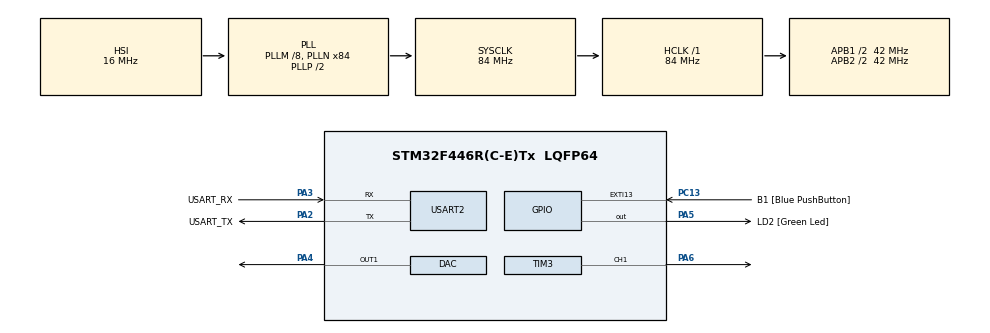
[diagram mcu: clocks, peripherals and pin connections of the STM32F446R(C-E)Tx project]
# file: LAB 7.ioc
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DAC.DAC_Trigger=DAC_TRIGGER_NONE
Dma.DAC1.0.Direction=DMA_MEMORY_TO_PERIPH
Dma.DAC1.0.FIFOMode=DMA_FIFOMODE_DISABLE
Dma.DAC1.0.Instance=DMA1_Stream5
Dma.DAC1.0.MemDataAlignment=DMA_MDATAALIGN_HALFWORD
Dma.DAC1.0.MemInc=DMA_MINC_ENABLE
Dma.DAC1.0.Mode=DMA_NORMAL
Dma.DAC1.0.PeriphDataAlignment=DMA_PDATAALIGN_HALFWORD
Dma.DAC1.0.PeriphInc=DMA_PINC_DISABLE
Dma.DAC1.0.Priority=DMA_PRIORITY_LOW
Dma.Request0=DAC1
Mcu.Family=STM32F4
Mcu.Name=STM32F446R(C-E)Tx
Mcu.Package=LQFP64
NVIC.DMA1_Stream5_IRQn=true\:0\:0\:false\:false\:true\:false\:true\:true
NVIC.PriorityGroup=NVIC_PRIORITYGROUP_0
NVIC.USART2_IRQn=true\:0\:0\:false\:false\:true\:true\:true\:true
PA13.GPIO_Label=TMS
PA13.Signal=SYS_JTMS-SWDIO
PA14.GPIO_Label=TCK
PA14.Signal=SYS_JTCK-SWCLK
PA2.GPIO_Label=USART_TX
PA2.Mode=Asynchronous
PA2.Signal=USART2_TX
PA3.GPIO_Label=USART_RX
PA3.Mode=Asynchronous
PA3.Signal=USART2_RX
PA4.Signal=COMP_DAC1_group
PA5.GPIO_Label=LD2 [Green Led]
PA5.Signal=GPIO_Output
PA6.Signal=S_TIM3_CH1
PB3.GPIO_Label=SWO
PB3.Signal=SYS_JTDO-SWO
PC13.GPIO_Label=B1 [Blue PushButton]
PC13.GPIO_ModeDefaultEXTI=GPIO_MODE_IT_FALLING
PC13.Signal=GPXTI13
PC14-OSC32_IN.Signal=RCC_OSC32_IN
PC15-OSC32_OUT.Signal=RCC_OSC32_OUT
PH0-OSC_IN.Mode=HSE-External-Clock-Source
PH0-OSC_IN.Signal=RCC_OSC_IN
PH1-OSC_OUT.Mode=HSE-External-Clock-Source
PH1-OSC_OUT.Signal=RCC_OSC_OUT
ProjectManager.HeapSize=0x200
ProjectManager.StackSize=0x400
ProjectManager.TargetToolchain=STM32CubeIDE
RCC.AHBFreq_Value=84000000
RCC.APB1CLKDivider=RCC_HCLK_DIV2
RCC.APB1Freq_Value=42000000
RCC.APB1TimFreq_Value=84000000
RCC.APB2CLKDivider=RCC_HCLK_DIV2
RCC.APB2Freq_Value=42000000
RCC.APB2TimFreq_Value=84000000
RCC.CortexFreq_Value=84000000
RCC.FLatency-AdvancedSettings=FLASH_LATENCY_2
RCC.HCLKFreq_Value=84000000
RCC.HSE_VALUE=8000000
RCC.HSI_VALUE=16000000
RCC.LSE_VALUE=32768
RCC.PLLM=8
RCC.PLLN=84
RCC.SYSCLKFreq_VALUE=84000000
RCC.SYSCLKSource=RCC_SYSCLKSOURCE_PLLCLK
RCC.USBFreq_Value=84000000
RCC.VCOOutputFreq_Value=168000000
SH.COMP_DAC1_group.0=DAC_OUT1,DAC_OUT1
SH.S_TIM3_CH1.0=TIM3_CH1,PWM Generation1 CH1
TIM3.AutoReloadPreload=TIM_AUTORELOAD_PRELOAD_ENABLE
TIM3.Channel-PWM\ Generation1\ CH1=TIM_CHANNEL_1
TIM3.Period=999
TIM3.Prescaler=89
TIM3.Pulse-PWM\ Generation1\ CH1=500
TIM6.Period=11249
TIM6.TIM_MasterOutputTrigger=TIM_TRGO_UPDATE
USART2.VirtualMode=VM_ASYNC
VP_TIM3_VS_ClockSourceINT.Mode=Internal
VP_TIM6_VS_ClockSourceINT.Mode=Enable_Timer
board=NUCLEO-F446RE

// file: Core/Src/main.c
/* USER CODE BEGIN Header */
/**
  ******************************************************************************
  * @file           : main.c
  * @brief          : Main program body
  ******************************************************************************
  * @attention
  *
  * Copyright (c) 2026 STMicroelectronics.
  * All rights reserved.
  *
  * This software is licensed under terms that can be found in the LICENSE file
  * in the root directory of this software component.
  * If no LICENSE file comes with this software, it is provided AS-IS.
  *
  ******************************************************************************
  */
/* USER CODE END Header */
#include "main.h"
/* USER CODE BEGIN Includes */
#include <string.h>
/* USER CODE END Includes */
/* USER CODE BEGIN PTD */
typedef struct
{
  uint16_t frecuencia;
  uint8_t divisor;
  uint8_t puntillo;
} Nota;
/* USER CODE END PTD */
/* USER CODE BEGIN PD */
#define MELODIA_DAC_BPM 140U
#define MELODIA_PWM_BPM 192U
#define RELOJ_PWM_HZ 1000000U
/* USER CODE END PD */
DAC_HandleTypeDef hdac;
DMA_HandleTypeDef hdma_dac1;
TIM_HandleTypeDef htim3;
TIM_HandleTypeDef htim6;
UART_HandleTypeDef huart2;
/* USER CODE BEGIN PV */
uint8_t comandoRx;
uint8_t comandoPendiente = 0;
uint32_t ciclosPorUs;

static const Nota melodiaHarryPotter[] =
{
  {988, 8, 0},
  {1319, 8, 1},
  {1568, 16, 0},
  {1480, 8, 0},
  {1319, 4, 0},
  {1976, 8, 0},
  {1760, 4, 1},
  {1480, 4, 1},
  {1319, 8, 0},
  {1568, 16, 0},
  {1480, 8, 0},
  {1175, 4, 0},
  {1397, 8, 0},
  {988, 2, 0},
  {0, 8, 0},
  {988, 8, 0},
  {1319, 8, 1},
  {1568, 16, 0},
  {1480, 8, 0},
  {1319, 4, 0},
  {1976, 8, 0},
  {2349, 4, 0},
  {2217, 8, 0},
  {2093, 4, 0},
  {1661, 8, 0},
  {2093, 8, 1},
  {1976, 16, 0},
  {1865, 8, 0},
  {932, 4, 0},
  {1568, 8, 0},
  {1319, 2, 0}
};

static const Nota melodiaOdaAlegria[] =
{
  {659, 4, 0},
  {659, 4, 0},
  {698, 4, 0},
  {784, 4, 0},
  {784, 4, 0},
  {698, 4, 0},
  {659, 4, 0},
  {587, 4, 0},
  {523, 4, 0},
  {523, 4, 0},
  {587, 4, 0},
  {659, 4, 0},
  {659, 4, 1},
  {587, 8, 0},
  {587, 2, 0},
  {659, 4, 0},
  {659, 4, 0},
  {698, 4, 0},
  {784, 4, 0},
  {784, 4, 0},
  {698, 4, 0},
  {659, 4, 0},
  {587, 4, 0},
  {523, 4, 0},
  {523, 4, 0},
  {587, 4, 0},
  {659, 4, 0},
  {587, 4, 1},
  {523, 8, 0},
  {523, 2, 0}
};
/* USER CODE END PV */
void SystemClock_Config(void);
static void MX_GPIO_Init(void);
static void MX_DMA_Init(void);
static void MX_DAC_Init(void);
static void MX_USART2_UART_Init(void);
static void MX_TIM6_Init(void);
static void MX_TIM3_Init(void);
/* USER CODE BEGIN PFP */
static void UART_Enviar(const char *texto);
static void MostrarMenu(void);
static void DWT_Init(void);
static void EsperarUs(uint32_t tiempoUs);
static void ReproducirTonoDAC(uint16_t frecuencia, uint32_t duracionMs);
static void ReproducirMelodiaDAC(void);
static void ReproducirTonoPWM(uint16_t frecuencia, uint32_t duracionMs);
static void ReproducirMelodiaPWM(void);
/* USER CODE END PFP */
/* USER CODE BEGIN 0 */
static void UART_Enviar(const char *texto)
{
  HAL_UART_Transmit(&huart2, (uint8_t *)texto,
                    (uint16_t)strlen(texto), HAL_MAX_DELAY);
}

static void MostrarMenu(void)
{
  UART_Enviar(
      "\r\n"
      "============================\r\n"
      "     REPRODUCTOR DE AUDIO\r\n"
      "============================\r\n"
      "1. Harry Potter - DAC\r\n"
      "2. Oda a la Alegria - PWM\r\n"
      "============================\r\n"
      "Ingrese 1 o 2 y presione Enter:\r\n> ");
}

static void DWT_Init(void)
{
  CoreDebug->DEMCR |= CoreDebug_DEMCR_TRCENA_Msk;
  DWT->CYCCNT = 0;
  DWT->CTRL |= DWT_CTRL_CYCCNTENA_Msk;
  ciclosPorUs = HAL_RCC_GetHCLKFreq() / 1000000U;
}

static void EsperarUs(uint32_t tiempoUs)
{
  uint32_t inicio = DWT->CYCCNT;
  uint32_t ciclos = tiempoUs * ciclosPorUs;

  while ((DWT->CYCCNT - inicio) < ciclos)
  {
  }
}

static void ReproducirTonoDAC(uint16_t frecuencia, uint32_t duracionMs)
{
  uint32_t medioPeriodoUs;
  uint32_t cambios;
  uint32_t i;

  if (frecuencia == 0)
  {
    HAL_DAC_SetValue(&hdac, DAC_CHANNEL_1, DAC_ALIGN_12B_R, 0);
    HAL_Delay(duracionMs);
    return;
  }

  medioPeriodoUs = 500000U / frecuencia;
  cambios = (duracionMs * 1000U) / medioPeriodoUs;

  for (i = 0; i < cambios; i++)
  {
    HAL_DAC_SetValue(&hdac, DAC_CHANNEL_1, DAC_ALIGN_12B_R,
                     (i & 1U) ? 4095U : 0U);
    EsperarUs(medioPeriodoUs);
  }

  HAL_DAC_SetValue(&hdac, DAC_CHANNEL_1, DAC_ALIGN_12B_R, 0);
}

static void ReproducirMelodiaDAC(void)
{
  uint32_t i;
  uint32_t duracionMs;
  uint32_t sonidoMs;

  if (HAL_DAC_Start(&hdac, DAC_CHANNEL_1) != HAL_OK)
  {
    Error_Handler();
  }

  for (i = 0; i < (sizeof(melodiaHarryPotter) / sizeof(melodiaHarryPotter[0])); i++)
  {
    duracionMs = (240000U / MELODIA_DAC_BPM) / melodiaHarryPotter[i].divisor;

    if (melodiaHarryPotter[i].puntillo != 0)
    {
      duracionMs += duracionMs / 2U;
    }

    if (melodiaHarryPotter[i].frecuencia == 0)
    {
      ReproducirTonoDAC(0, duracionMs);
    }
    else
    {
      sonidoMs = (duracionMs * 9U) / 10U;
      ReproducirTonoDAC(melodiaHarryPotter[i].frecuencia, sonidoMs);
      ReproducirTonoDAC(0, duracionMs - sonidoMs);
    }
  }

  HAL_DAC_Stop(&hdac, DAC_CHANNEL_1);
}

static void ReproducirTonoPWM(uint16_t frecuencia, uint32_t duracionMs)
{
  uint32_t periodo;

  HAL_TIM_PWM_Stop(&htim3, TIM_CHANNEL_1);

  if (frecuencia == 0)
  {
    HAL_Delay(duracionMs);
    return;
  }

  periodo = RELOJ_PWM_HZ / frecuencia;

  __HAL_TIM_SET_AUTORELOAD(&htim3, periodo - 1U);
  __HAL_TIM_SET_COMPARE(&htim3, TIM_CHANNEL_1, periodo / 2U);
  __HAL_TIM_SET_COUNTER(&htim3, 0);

  if (HAL_TIM_GenerateEvent(&htim3, TIM_EVENTSOURCE_UPDATE) != HAL_OK)
  {
    Error_Handler();
  }

  if (HAL_TIM_PWM_Start(&htim3, TIM_CHANNEL_1) != HAL_OK)
  {
    Error_Handler();
  }

  HAL_Delay(duracionMs);
  HAL_TIM_PWM_Stop(&htim3, TIM_CHANNEL_1);
}

static void ReproducirMelodiaPWM(void)
{
  uint32_t i;
  uint32_t duracionMs;
  uint32_t sonidoMs;

  for (i = 0; i < (sizeof(melodiaOdaAlegria) / sizeof(melodiaOdaAlegria[0])); i++)
  {
    duracionMs = (240000U / MELODIA_PWM_BPM) / melodiaOdaAlegria[i].divisor;

    if (melodiaOdaAlegria[i].puntillo != 0)
    {
      duracionMs += duracionMs / 2U;
    }

    if (melodiaOdaAlegria[i].frecuencia == 0)
    {
      ReproducirTonoPWM(0, duracionMs);
    }
    else
    {
      sonidoMs = (duracionMs * 9U) / 10U;
      ReproducirTonoPWM(melodiaOdaAlegria[i].frecuencia, sonidoMs);
      ReproducirTonoPWM(0, duracionMs - sonidoMs);
    }
  }
}
/* USER CODE END 0 */
int main(void)
{
  /* MCU Configuration--------------------------------------------------------*/
  /* Reset of all peripherals, Initializes the Flash interface and the Systick. */
  HAL_Init();
  /* Configure the system clock */
  SystemClock_Config();
  /* Initialize all configured peripherals */
  MX_GPIO_Init();
  MX_DMA_Init();
  MX_DAC_Init();
  MX_USART2_UART_Init();
  MX_TIM6_Init();
  MX_TIM3_Init();
  /* USER CODE BEGIN 2 */
  //Esperar terminal
  HAL_Delay(1000);

  //Iniciar contador de ciclos
  DWT_Init();

  //Mostrar menu inicial
  MostrarMenu();
  /* USER CODE END 2 */
  /* Infinite loop */
  while (1)
  {
    /* USER CODE BEGIN 3 */
    if (HAL_UART_Receive(&huart2, &comandoRx, 1, HAL_MAX_DELAY) == HAL_OK)
    {
      switch (comandoRx)
      {
        case '1':
        case '2':
          //Guardar comando
          comandoPendiente = comandoRx;
          break;

        case '\r':
        case '\n':
          if (comandoPendiente == 0)
          {
            break;
          }

          //Procesar comando
          if (comandoPendiente == '1')
          {
            UART_Enviar("\r\nReproduciendo Harry Potter\r\n");

            //Reproducir melodia
            ReproducirMelodiaDAC();

            UART_Enviar("\r\nReproduccion terminada\r\n");
          }
          else
          {
            UART_Enviar("\r\nReproduciendo Oda a la Alegria\r\n");

            //Reproducir melodia
            ReproducirMelodiaPWM();

            UART_Enviar("\r\nReproduccion terminada\r\n");
          }

          comandoPendiente = 0;
          MostrarMenu();
          break;

        default:
          comandoPendiente = 0;
          UART_Enviar("\r\nCaracter invalido\r\n> ");
          break;
      }
    }
  }
  /* USER CODE END 3 */
}
void SystemClock_Config(void)
{
  RCC_OscInitTypeDef RCC_OscInitStruct = {0};
  RCC_ClkInitTypeDef RCC_ClkInitStruct = {0};
  /** Configure the main internal regulator output voltage
  */
  __HAL_RCC_PWR_CLK_ENABLE();
  __HAL_PWR_VOLTAGESCALING_CONFIG(PWR_REGULATOR_VOLTAGE_SCALE3);
  /** Initializes the RCC Oscillators according to the specified parameters
  * in the RCC_OscInitTypeDef structure.
  */
  RCC_OscInitStruct.OscillatorType = RCC_OSCILLATORTYPE_HSI;
  RCC_OscInitStruct.HSIState = RCC_HSI_ON;
  RCC_OscInitStruct.HSICalibrationValue = RCC_HSICALIBRATION_DEFAULT;
  RCC_OscInitStruct.PLL.PLLState = RCC_PLL_ON;
  RCC_OscInitStruct.PLL.PLLSource = RCC_PLLSOURCE_HSI;
  RCC_OscInitStruct.PLL.PLLM = 8;
  RCC_OscInitStruct.PLL.PLLN = 84;
  RCC_OscInitStruct.PLL.PLLP = RCC_PLLP_DIV2;
  RCC_OscInitStruct.PLL.PLLQ = 2;
  RCC_OscInitStruct.PLL.PLLR = 2;
  if (HAL_RCC_OscConfig(&RCC_OscInitStruct) != HAL_OK)
  {
    Error_Handler();
  }
  /** Initializes the CPU, AHB and APB buses clocks
  */
  RCC_ClkInitStruct.ClockType = RCC_CLOCKTYPE_HCLK|RCC_CLOCKTYPE_SYSCLK
                              |RCC_CLOCKTYPE_PCLK1|RCC_CLOCKTYPE_PCLK2;
  RCC_ClkInitStruct.SYSCLKSource = RCC_SYSCLKSOURCE_PLLCLK;
  RCC_ClkInitStruct.AHBCLKDivider = RCC_SYSCLK_DIV1;
  RCC_ClkInitStruct.APB1CLKDivider = RCC_HCLK_DIV2;
  RCC_ClkInitStruct.APB2CLKDivider = RCC_HCLK_DIV2;
  if (HAL_RCC_ClockConfig(&RCC_ClkInitStruct, FLASH_LATENCY_2) != HAL_OK)
  {
    Error_Handler();
  }
}
static void MX_DAC_Init(void)
{
  DAC_ChannelConfTypeDef sConfig = {0};
  /** DAC Initialization
  */
  hdac.Instance = DAC;
  if (HAL_DAC_Init(&hdac) != HAL_OK)
  {
    Error_Handler();
  }
  /** DAC channel OUT1 config
  */
  sConfig.DAC_Trigger = DAC_TRIGGER_NONE;
  sConfig.DAC_OutputBuffer = DAC_OUTPUTBUFFER_ENABLE;
  if (HAL_DAC_ConfigChannel(&hdac, &sConfig, DAC_CHANNEL_1) != HAL_OK)
  {
    Error_Handler();
  }
}
static void MX_TIM3_Init(void)
{
  TIM_ClockConfigTypeDef sClockSourceConfig = {0};
  TIM_MasterConfigTypeDef sMasterConfig = {0};
  TIM_OC_InitTypeDef sConfigOC = {0};
  htim3.Instance = TIM3;
  htim3.Init.Prescaler = 83;
  htim3.Init.CounterMode = TIM_COUNTERMODE_UP;
  htim3.Init.Period = 999;
  htim3.Init.ClockDivision = TIM_CLOCKDIVISION_DIV1;
  htim3.Init.AutoReloadPreload = TIM_AUTORELOAD_PRELOAD_ENABLE;
  if (HAL_TIM_Base_Init(&htim3) != HAL_OK)
  {
    Error_Handler();
  }
  sClockSourceConfig.ClockSource = TIM_CLOCKSOURCE_INTERNAL;
  if (HAL_TIM_ConfigClockSource(&htim3, &sClockSourceConfig) != HAL_OK)
  {
    Error_Handler();
  }
  if (HAL_TIM_PWM_Init(&htim3) != HAL_OK)
  {
    Error_Handler();
  }
  sMasterConfig.MasterOutputTrigger = TIM_TRGO_RESET;
  sMasterConfig.MasterSlaveMode = TIM_MASTERSLAVEMODE_DISABLE;
  if (HAL_TIMEx_MasterConfigSynchronization(&htim3, &sMasterConfig) != HAL_OK)
  {
    Error_Handler();
  }
  sConfigOC.OCMode = TIM_OCMODE_PWM1;
  sConfigOC.Pulse = 500;
  sConfigOC.OCPolarity = TIM_OCPOLARITY_HIGH;
  sConfigOC.OCFastMode = TIM_OCFAST_DISABLE;
  if (HAL_TIM_PWM_ConfigChannel(&htim3, &sConfigOC, TIM_CHANNEL_1) != HAL_OK)
  {
    Error_Handler();
  }
  HAL_TIM_MspPostInit(&htim3);
}
static void MX_TIM6_Init(void)
{
  TIM_MasterConfigTypeDef sMasterConfig = {0};
  htim6.Instance = TIM6;
  htim6.Init.Prescaler = 0;
  htim6.Init.CounterMode = TIM_COUNTERMODE_UP;
  htim6.Init.Period = 11249;
  htim6.Init.AutoReloadPreload = TIM_AUTORELOAD_PRELOAD_DISABLE;
  if (HAL_TIM_Base_Init(&htim6) != HAL_OK)
  {
    Error_Handler();
  }
  sMasterConfig.MasterOutputTrigger = TIM_TRGO_UPDATE;
  sMasterConfig.MasterSlaveMode = TIM_MASTERSLAVEMODE_DISABLE;
  if (HAL_TIMEx_MasterConfigSynchronization(&htim6, &sMasterConfig) != HAL_OK)
  {
    Error_Handler();
  }
}
static void MX_USART2_UART_Init(void)
{
  huart2.Instance = USART2;
  huart2.Init.BaudRate = 115200;
  huart2.Init.WordLength = UART_WORDLENGTH_8B;
  huart2.Init.StopBits = UART_STOPBITS_1;
  huart2.Init.Parity = UART_PARITY_NONE;
  huart2.Init.Mode = UART_MODE_TX_RX;
  huart2.Init.HwFlowCtl = UART_HWCONTROL_NONE;
  huart2.Init.OverSampling = UART_OVERSAMPLING_16;
  if (HAL_UART_Init(&huart2) != HAL_OK)
  {
    Error_Handler();
  }
}
static void MX_DMA_Init(void)
{
  /* DMA controller clock enable */
  __HAL_RCC_DMA1_CLK_ENABLE();
  /* DMA interrupt init */
  /* DMA1_Stream5_IRQn interrupt configuration */
  HAL_NVIC_SetPriority(DMA1_Stream5_IRQn, 0, 0);
  HAL_NVIC_EnableIRQ(DMA1_Stream5_IRQn);
}
static void MX_GPIO_Init(void)
{
  GPIO_InitTypeDef GPIO_InitStruct = {0};
  /* GPIO Ports Clock Enable */
  __HAL_RCC_GPIOC_CLK_ENABLE();
  __HAL_RCC_GPIOH_CLK_ENABLE();
  __HAL_RCC_GPIOA_CLK_ENABLE();
  __HAL_RCC_GPIOB_CLK_ENABLE();
  /*Configure GPIO pin Output Level */
  HAL_GPIO_WritePin(LD2_GPIO_Port, LD2_Pin, GPIO_PIN_RESET);
  /*Configure GPIO pin : B1_Pin */
  GPIO_InitStruct.Pin = B1_Pin;
  GPIO_InitStruct.Mode = GPIO_MODE_IT_FALLING;
  GPIO_InitStruct.Pull = GPIO_NOPULL;
  HAL_GPIO_Init(B1_GPIO_Port, &GPIO_InitStruct);
  /*Configure GPIO pin : LD2_Pin */
  GPIO_InitStruct.Pin = LD2_Pin;
  GPIO_InitStruct.Mode = GPIO_MODE_OUTPUT_PP;
  GPIO_InitStruct.Pull = GPIO_NOPULL;
  GPIO_InitStruct.Speed = GPIO_SPEED_FREQ_LOW;
  HAL_GPIO_Init(LD2_GPIO_Port, &GPIO_InitStruct);
}
void Error_Handler(void)
{
  __disable_irq();
  while (1)
  {
  }
}
